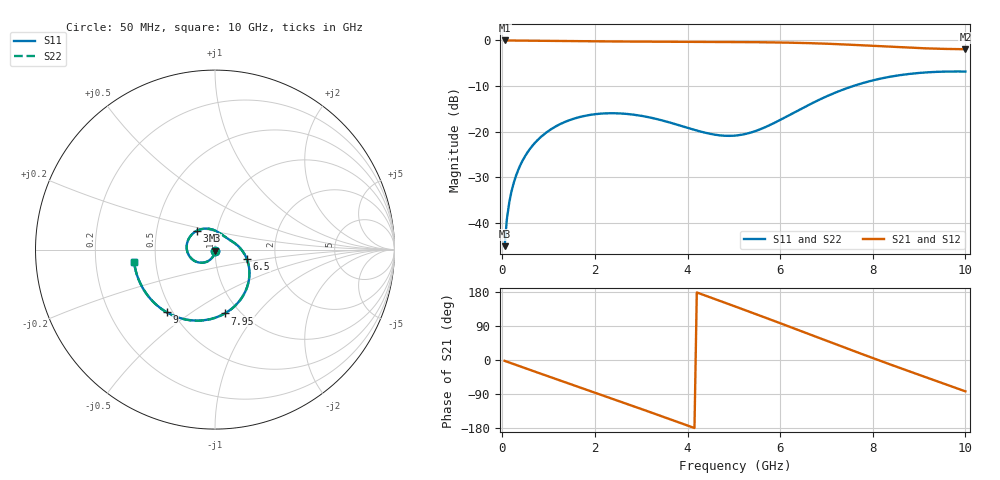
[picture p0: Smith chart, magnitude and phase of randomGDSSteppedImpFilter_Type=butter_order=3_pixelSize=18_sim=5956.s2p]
! freq	dB(S11)	phase(S11)	dB(S12)	phase(S12)
!  dB(S21)	phase(S21)	dB(S22)	phase(S22)
!S-par simulation data
#  GHz  S  DB  R 50
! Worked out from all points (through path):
!   200 points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, 50 MHz to 10 GHz, reference 50 ohm
!   highest |S21| = 0.00 dB at 50 MHz (marker M1); lowest = -1.9 dB at 10 GHz (marker M2)
!   group delay of S21, straight-line fit = 124 ps
!   lowest |S11| = -45.1 dB at 50 MHz (marker M3), VSWR 1.01, Z = 50 - j0.558 ohm
!   |S11| at or under -10 dB: start of sweep to 7.573 GHz
!   |S22| runs from -45.1 to -6.8 dB; largest |S21 - S12| = 0
!   S11 on the Smith chart (normalised r, x): 50 MHz: 1.00, -0.01; 3.1 GHz: 0.80, +0.17; 6.5 GHz: 1.42, -0.15; 7.95 GHz: 0.85, -0.70; 9 GHz: 0.47, -0.40; 10 GHz: 0.38, -0.06
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0.05  -45.06 -91.9  -0.00 -2.2  -0.00 -2.2  -45.06 -91.9
0.1  -39.03 -94.4  -0.01 -4.4  -0.01 -4.4  -39.03 -94.4
0.2  -33.01 -99.0  -0.02 -8.8  -0.02 -8.8  -33.01 -99.0
0.35  -28.21 -105.7  -0.03 -15.3  -0.03 -15.3  -28.21 -105.6
0.5  -25.21 -112.3  -0.04 -21.8  -0.04 -21.8  -25.21 -112.2
1  -19.80 -134.3  -0.09 -43.4  -0.09 -43.4  -19.80 -134.2
1.75  -16.58 -166.9  -0.18 -75.6  -0.18 -75.6  -16.59 -166.7
2.4  -15.94 165.1  -0.23 -103.4  -0.23 -103.4  -15.94 165.4
3.1  -16.70 134.7  -0.25 -133.5  -0.25 -133.5  -16.70 135.1
3.4  -17.38 121.6  -0.26 -146.6  -0.26 -146.6  -17.38 121.9
4.2  -19.73 85.9  -0.29 178.2  -0.29 178.2  -19.73 86.0
4.6  -20.66 68.1  -0.31 160.5  -0.31 160.5  -20.66 67.9
5.05  -20.82 48.1  -0.34 140.3  -0.34 140.3  -20.82 47.7
5.8  -18.43 15.3  -0.42 106.3  -0.42 106.3  -18.43 14.8
6.5  -14.73 -15.8  -0.56 74.1  -0.56 74.1  -14.73 -16.1
6.7  -13.70 -24.8  -0.61 64.8  -0.61 64.8  -13.70 -25.0
7.35  -10.80 -54.2  -0.86 34.8  -0.86 34.8  -10.80 -54.2
7.95  -8.88 -81.3  -1.16 7.4  -1.16 7.4  -8.88 -81.0
8.35  -7.99 -99.0  -1.37 -10.5  -1.37 -10.5  -7.99 -98.7
9  -7.12 -127.5  -1.68 -39.1  -1.68 -39.1  -7.12 -127.1
9.5  -6.84 -149.4  -1.84 -60.9  -1.84 -60.9  -6.84 -149.0
10  -6.82 -171.6  -1.92 -82.7  -1.92 -82.7  -6.82 -171.2
